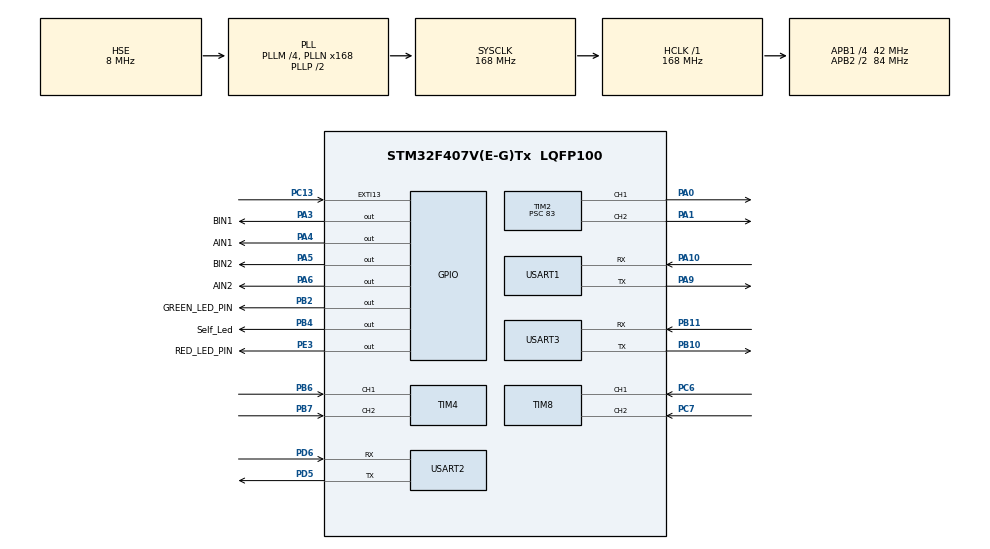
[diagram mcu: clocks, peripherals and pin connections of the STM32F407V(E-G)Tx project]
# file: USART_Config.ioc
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Mcu.Family=STM32F4
Mcu.Name=STM32F407V(E-G)Tx
Mcu.Package=LQFP100
NVIC.EXTI15_10_IRQn=true\:1\:0\:true\:false\:true\:true\:true\:true
NVIC.PriorityGroup=NVIC_PRIORITYGROUP_4
NVIC.TIM2_IRQn=true\:0\:0\:false\:false\:true\:true\:true\:true
NVIC.TIM3_IRQn=true\:0\:0\:false\:false\:true\:true\:true\:true
NVIC.USART1_IRQn=true\:0\:0\:false\:false\:true\:true\:true\:true
NVIC.USART2_IRQn=true\:0\:0\:false\:false\:true\:true\:true\:true
NVIC.USART3_IRQn=true\:0\:0\:false\:false\:true\:true\:true\:true
PA0-WKUP.Signal=S_TIM2_CH1_ETR
PA1.Signal=S_TIM2_CH2
PA10.Mode=Asynchronous
PA10.Signal=USART1_RX
PA13.Mode=Serial_Wire
PA13.Signal=SYS_JTMS-SWDIO
PA14.Mode=Serial_Wire
PA14.Signal=SYS_JTCK-SWCLK
PA3.GPIO_Label=BIN1
PA3.Signal=GPIO_Output
PA4.GPIO_Label=AIN1
PA4.Signal=GPIO_Output
PA5.GPIO_Label=BIN2
PA5.Signal=GPIO_Output
PA6.GPIO_Label=AIN2
PA6.Signal=GPIO_Output
PA9.Mode=Asynchronous
PA9.Signal=USART1_TX
PB10.Mode=Asynchronous
PB10.Signal=USART3_TX
PB11.Mode=Asynchronous
PB11.Signal=USART3_RX
PB2.GPIO_Label=GREEN_LED_PIN
PB2.Signal=GPIO_Output
PB4.GPIO_Label=Self_Led
PB4.GPIO_PuPd=GPIO_NOPULL
PB4.Signal=GPIO_Output
PB6.Signal=S_TIM4_CH1
PB7.Signal=S_TIM4_CH2
PC13-ANTI_TAMP.GPIO_ModeDefaultEXTI=GPIO_MODE_IT_RISING
PC13-ANTI_TAMP.GPIO_PuPd=GPIO_PULLDOWN
PC13-ANTI_TAMP.Signal=GPXTI13
PC14-OSC32_IN.Mode=LSE-External-Oscillator
PC14-OSC32_IN.Signal=RCC_OSC32_IN
PC15-OSC32_OUT.Mode=LSE-External-Oscillator
PC15-OSC32_OUT.Signal=RCC_OSC32_OUT
PC6.Signal=S_TIM8_CH1
PC7.Signal=S_TIM8_CH2
PD5.Mode=Asynchronous
PD5.Signal=USART2_TX
PD6.Mode=Asynchronous
PD6.Signal=USART2_RX
PE3.GPIO_Label=RED_LED_PIN
PE3.GPIO_PuPd=GPIO_PULLDOWN
PE3.PinState=GPIO_PIN_RESET
PE3.Signal=GPIO_Output
PH0-OSC_IN.Mode=HSE-External-Oscillator
PH0-OSC_IN.Signal=RCC_OSC_IN
PH1-OSC_OUT.Mode=HSE-External-Oscillator
PH1-OSC_OUT.Signal=RCC_OSC_OUT
ProjectManager.HeapSize=0x200
ProjectManager.StackSize=0x400
ProjectManager.TargetToolchain=MDK-ARM V5
RCC.48MHZClocksFreq_Value=84000000
RCC.AHBFreq_Value=168000000
RCC.APB1CLKDivider=RCC_HCLK_DIV4
RCC.APB1Freq_Value=42000000
RCC.APB1TimFreq_Value=84000000
RCC.APB2CLKDivider=RCC_HCLK_DIV2
RCC.APB2Freq_Value=84000000
RCC.APB2TimFreq_Value=168000000
RCC.CortexFreq_Value=168000000
RCC.HCLKFreq_Value=168000000
RCC.HSE_VALUE=8000000
RCC.HSI_VALUE=16000000
RCC.PLLM=4
RCC.PLLN=168
RCC.PLLSourceVirtual=RCC_PLLSOURCE_HSE
RCC.SYSCLKFreq_VALUE=168000000
RCC.SYSCLKSource=RCC_SYSCLKSOURCE_PLLCLK
RCC.VCOOutputFreq_Value=336000000
SH.S_TIM2_CH1_ETR.0=TIM2_CH1,PWM Generation1 CH1
SH.S_TIM2_CH2.0=TIM2_CH2,PWM Generation2 CH2
SH.S_TIM4_CH1.0=TIM4_CH1,Encoder_Interface
SH.S_TIM4_CH2.0=TIM4_CH2,Encoder_Interface
SH.S_TIM8_CH1.0=TIM8_CH1,Encoder_Interface
SH.S_TIM8_CH2.0=TIM8_CH2,Encoder_Interface
TIM2.AutoReloadPreload=TIM_AUTORELOAD_PRELOAD_ENABLE
TIM2.Channel-PWM\ Generation1\ CH1=TIM_CHANNEL_1
TIM2.Channel-PWM\ Generation2\ CH2=TIM_CHANNEL_2
TIM2.OCPolarity_1=TIM_OCPOLARITY_LOW
TIM2.Period=99
TIM2.Prescaler=83
TIM3.AutoReloadPreload=TIM_AUTORELOAD_PRELOAD_ENABLE
TIM3.Period=999
TIM3.Prescaler=83
USART1.VirtualMode=VM_ASYNC
USART2.VirtualMode=VM_ASYNC
USART3.VirtualMode=VM_ASYNC
VP_TIM2_VS_ClockSourceINT.Mode=Internal
VP_TIM3_VS_ClockSourceINT.Mode=Internal
board=custom

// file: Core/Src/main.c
/* USER CODE BEGIN Header */
/**
  ******************************************************************************
  * @文件           : main.c
  * @�??�?          : 智能送药小车主程�?
  ******************************************************************************
  * @注意
  *
  * Copyright (c) 2025 STMicroelectronics.
  * 保留�?有权�?
  *
  * 本软件的许可条款可在该软件组件根目录下的LICENSE文件中找到�??
  * 如果本软件未附带LICENSE文件，则按AS-IS方式提供�?
  *
  ******************************************************************************
  */
/* USER CODE END Header */
#include "main.h"
#include "tim.h"
#include "usart.h"
#include "gpio.h"

/* USER CODE BEGIN Includes */
#include <string.h>
#include <stdio.h>
#include "ring_buffer.h"
#include "usart_handler.h"
#include "Control.h"
/* USER CODE END Includes */

/* USER CODE BEGIN PTD */
// 系统状�?�枚�?
typedef enum {
    SYS_INIT = 0,                  // 系统初始�?
    SYS_WAITING_MEDICINE,          // 等待装药
    SYS_LINE_TRACKING,             // 循线行驶
    SYS_CROSS_PROCESSING,          // 路口处理
    SYS_ARRIVED,                   // 到达目的�?
    SYS_MISSION_COMPLETE,          // 任务完成
    SYS_ERROR                      // 错误状�??
} SystemState_t;

// 电机动作枚举
typedef enum {
    MOTOR_ACT_STOP,                // 停止
    MOTOR_ACT_FORWARD,             // 前进
    MOTOR_TURN_LEFT,               // 原地左转
    MOTOR_TURN_RIGHT,              // 原地右转
    MOTOR_TURN_AROUND,             // 掉头(180�?)
    MOTOR_ADJUST_LEFT,             // 轻微左调
    MOTOR_ADJUST_RIGHT,            // 轻微右调
    MOTOR_CURVE_LEFT,              // 大曲线左�?
    MOTOR_CURVE_RIGHT              // 大曲线右�?
} MotorAction_t;
/* USER CODE END PTD */

/* USER CODE BEGIN PD */
#define MAX_CROSS_RECORDS     20    // �?大路口记录数
#define TURN_DELAY_MS         2000  // 90度原地转向的延迟时间(毫秒)
#define AROUND_DELAY_MS       4000  // 180度掉头的延迟时间(毫秒)
#define SPEED_FORWARD         150.0f // 前进速度
#define SPEED_ADJUST_FACTOR   1.2f  // 轻微调整的�?�度系数
#define SPEED_CURVE_FACTOR    0.3f  // 大曲线转向�?�度系数(例如：内侧车30%速度)
#define PI_UART               &huart2 // 与树莓派通信的UART
/* USER CODE END PD */

/* USER CODE BEGIN PV */
// UART环形缓冲�?
RingBuffer usart1_rx_buffer = {0};
RingBuffer usart2_rx_buffer = {0};
RingBuffer usart3_rx_buffer = {0};

// 系统状�??
volatile SystemState_t system_state = SYS_INIT;
volatile uint8_t medicine_taken = 0;          // 药品已放置标�?
volatile uint8_t sensor_state_8 = 0;          // 8位传感器状�??
volatile uint8_t In_Turn = 0;                 // 正在转向标志

// 返程路径记录
uint8_t cross_go[MAX_CROSS_RECORDS];          // 去程路口记录
uint8_t cross_cnt_go = 0;                     // 去程路口计数
uint8_t GO_or_BACK = 0;                       // 0-去程, 1-返程

// 通信缓冲�?
uint16_t track_pkt_len = 0;                   // 新传感器数据标志
extern uint8_t frame_buffer[];                // usart_handler.c中定�?

bool action_initialized = 0;
/* USER CODE END PV */

void SystemClock_Config(void);
/* USER CODE BEGIN PFP */
void SystemClock_Config(void);
void System_Init(void);
void Process_Communication(void);
void Line_Tracking_Task(void);
void Execute_Line_Tracking(uint8_t sensor_state_8);
void Handle_Cross_Road(void);
void  Motor_Action(MotorAction_t action);
void Handle_Arrival(void);
void Execute_Cross_Action(uint8_t action);
void Controlled_Delay(uint32_t delay_ms);
void Send_Status_Message(const char* message);
void System_Status_Monitor(void);
/* USER CODE END PFP */

int main(void)
{

  /* MCU Configuration--------------------------------------------------------*/

  /* Reset of all peripherals, Initializes the Flash interface and the Systick. */
  HAL_Init();

  /* Configure the system clock */
  SystemClock_Config();

  /* Initialize all configured peripherals */
  MX_GPIO_Init();
  MX_USART1_UART_Init();
  MX_USART2_UART_Init();
  MX_USART3_UART_Init();
  MX_TIM2_Init();
  MX_TIM3_Init();
  MX_TIM4_Init();
  MX_TIM8_Init();
  /* USER CODE BEGIN 2 */
System_Init();
Pi_Start();
  /* USER CODE END 2 */

  /* Infinite loop */
  /* USER CODE BEGIN WHILE */
printf("\xBB智能送药小车启动...\r\n\x55\x44\x33");

    // 1. 等待药品装载
system_state = SYS_WAITING_MEDICINE;
printf("\xBB等待药品装载...\r\n\x55\x44\x33");
    while(medicine_taken == 0) {
        // 该标志可通过按键中断或命令设�?
        HAL_Delay(10);
        }
medicine_taken = 0;

printf("\xBB开始巡线\r\n\x55\x44\x33");

system_state = SYS_LINE_TRACKING;
    while (1)
    {
    /* USER CODE END WHILE */
  //#ifdef DEBUG_MODE
    //System_Status_Monitor();
    //#endif
    /* USER CODE BEGIN 3 */

    // 1. 统一调用电机控制任务

    Motor_Control_Task(); // 保持电机控制
    // 2. 处理传入的传感器数据和其他通信数据
    Process_Communication();

    // 3. 主状态机
    switch(system_state) {
        case SYS_LINE_TRACKING:
            Line_Tracking_Task();
            break;

        case SYS_CROSS_PROCESSING:
            Handle_Cross_Road();
            break;

        case SYS_ARRIVED:
            Handle_Arrival();
            break;

        case SYS_MISSION_COMPLETE:
            // 任务完成状态，保持停止
            printf("\xBB任务完成，等待新命令...\r\n\x55\x44\x33");
            Car_Stop_Precise();
            break;

        case SYS_ERROR:
            printf("\xBB系统错误! 停止运行。\r\n\x55\x44\x33");
            Car_Stop_Precise();
            while(1); // 停机
            break;

        default:
            break;
    }

        HAL_Delay(10); // 主循环延时
    }

  /* USER CODE END 3 */
}

void SystemClock_Config(void)
{
  RCC_OscInitTypeDef RCC_OscInitStruct = {0};
  RCC_ClkInitTypeDef RCC_ClkInitStruct = {0};

  /** Configure the main internal regulator output voltage
  */
  __HAL_RCC_PWR_CLK_ENABLE();
  __HAL_PWR_VOLTAGESCALING_CONFIG(PWR_REGULATOR_VOLTAGE_SCALE1);

  /** Initializes the RCC Oscillators according to the specified parameters
  * in the RCC_OscInitTypeDef structure.
  */
  RCC_OscInitStruct.OscillatorType = RCC_OSCILLATORTYPE_HSE;
  RCC_OscInitStruct.HSEState = RCC_HSE_ON;
  RCC_OscInitStruct.PLL.PLLState = RCC_PLL_ON;
  RCC_OscInitStruct.PLL.PLLSource = RCC_PLLSOURCE_HSE;
  RCC_OscInitStruct.PLL.PLLM = 4;
  RCC_OscInitStruct.PLL.PLLN = 168;
  RCC_OscInitStruct.PLL.PLLP = RCC_PLLP_DIV2;
  RCC_OscInitStruct.PLL.PLLQ = 4;
  if (HAL_RCC_OscConfig(&RCC_OscInitStruct) != HAL_OK)
  {
    Error_Handler();
  }

  /** Initializes the CPU, AHB and APB buses clocks
  */
  RCC_ClkInitStruct.ClockType = RCC_CLOCKTYPE_HCLK|RCC_CLOCKTYPE_SYSCLK
                              |RCC_CLOCKTYPE_PCLK1|RCC_CLOCKTYPE_PCLK2;
  RCC_ClkInitStruct.SYSCLKSource = RCC_SYSCLKSOURCE_PLLCLK;
  RCC_ClkInitStruct.AHBCLKDivider = RCC_SYSCLK_DIV1;
  RCC_ClkInitStruct.APB1CLKDivider = RCC_HCLK_DIV4;
  RCC_ClkInitStruct.APB2CLKDivider = RCC_HCLK_DIV2;

  if (HAL_RCC_ClockConfig(&RCC_ClkInitStruct, FLASH_LATENCY_5) != HAL_OK)
  {
    Error_Handler();
  }
}

/* USER CODE BEGIN 4 */
/**
  * @brief  系统初始�?
  */
void System_Init(void)
{
    RingBuffer_Init(&usart1_rx_buffer);
    RingBuffer_Init(&usart2_rx_buffer);
    RingBuffer_Init(&usart3_rx_buffer);

    HAL_UART_Receive_IT(&huart1, &usart1_rx_buffer.buffer[usart1_rx_buffer.head], 1);
    HAL_UART_Receive_IT(&huart2, &usart2_rx_buffer.buffer[usart2_rx_buffer.head], 1);
    HAL_UART_Receive_IT(&huart3, &usart3_rx_buffer.buffer[usart3_rx_buffer.head], 1);

    Motor_Init();
    Motor_PID_Init();
    printf("\xBB[电机] 初始化完成\r\n\x55\x44\x33");
    Car_Stop();

    system_state = SYS_INIT;
    GO_or_BACK = 0;
    cross_cnt_go = 0;
    In_Turn = 0;
}

/**
  * @brief  处理来自传感器和树莓派的通信数据
  */
void Process_Communication(void)
{
    // �?查UART2的新数据(传感器数据或树莓派命�?)
    static char rx_track_buf[MAX_FRAME_SIZE];
    uint16_t len = GetPacket(PI_UART, &usart2_rx_buffer, rx_track_buf);

    if(len > 0) {
        // �?查是否是特殊命令
        char command = rx_track_buf[1];

        // �?查目的地到达信号
        if (command == 'f' || command == 'e') {
            printf("\xBB接收到目的地信号: '%c'\r\n\x55\x44\x33", command);
            system_state = SYS_ARRIVED;
            return;
        }

        // �?查路口信�?
        if (command == 'c') { // 假设'c'表示�?测到路口
            printf("\xBB接收到路口信号\r\n\x55\x44\x33");
            system_state = SYS_CROSS_PROCESSING;
            return;
        }

        // 如果处于循线模式，这是传感器数据
        if (system_state == SYS_LINE_TRACKING) {
            sensor_state_8 = rx_track_buf[1]; // 假设数据在第二个字节
            track_pkt_len = len; // 为Line_Tracking_Task设置标志
        }
    }

    // 其他通信处理可以放在这里(例如：蓝牙调试UART)
    USART1_ProcessReceivedData();
}

/**
  * @brief 主循线任务，从主循环调用
  */
void Line_Tracking_Task(void)
{
    // 仅当有新数据且不在转向时处理新传感器数据
    if(track_pkt_len && !In_Turn) {
        track_pkt_len = 0; // 消费数据�?
        Execute_Line_Tracking(sensor_state_8);
    }
}

/**
  * @brief 基于8传感器状态执行循线�?�辑
  * 这是运动的核心决策函�?
  * @param sensor_state_8: 来自传感器阵列的8位状�?
  */
void Execute_Line_Tracking(uint8_t sensor_state_8)
{
    // 标准循线逻辑
    switch(sensor_state_8) {
        case STATE_STRAIGHT:
             Motor_Action(MOTOR_ACT_FORWARD);
            break;

        case STATE_ADJUST_LEFT_1:
        case STATE_ADJUST_LEFT_2:
             Motor_Action(MOTOR_ADJUST_LEFT);
            break;

        case STATE_ADJUST_RIGHT_1:
        case STATE_ADJUST_RIGHT_2:
             Motor_Action(MOTOR_ADJUST_RIGHT);
            break;

        case STATE_CURVE_LEFT:
             Motor_Action(MOTOR_CURVE_LEFT);
            break;

        case STATE_CURVE_RIGHT:
             Motor_Action(MOTOR_CURVE_RIGHT);
            break;

        default:
            // 如果处于未知状�?�，作为 fallback 继续直行
             Motor_Action(MOTOR_ACT_FORWARD);
            break;
    }
}

/**
  * @brief 处理路口逻辑
  */
void Handle_Cross_Road(void)
{
    Motor_Action(MOTOR_ACT_STOP);
    printf("\xBB检测到路口。\r\n\x55\x44\x33");
    printf("\xBB等待来自树莓派的转向命令(w/a/d)...\r\n\x55\x44\x33");

    char action = 0;
    static char rx_buf[5] = {0};
    uint16_t len = 0;

    // 等待来自树莓派的命令
    while(len == 0) {
        len = GetPacket(PI_UART, &usart2_rx_buffer, rx_buf);
        HAL_Delay(10);
    }
    action = rx_buf[1]; // 命令在第二个字节

    printf("\xBB收到命令: '%c'\r\n\x55\x44\x33", action);

    // 如果是去程，记录转向以便返程
    if(GO_or_BACK == 0 && cross_cnt_go < MAX_CROSS_RECORDS) {
        cross_go[cross_cnt_go] = action;
        cross_cnt_go++;
    }

    In_Turn = 1; // 设置转向标志

    // 重置动作初始化标志
    action_initialized = 0;

    // 执行转向动作，直到完成
    while (In_Turn) {
        // 如果动作尚未初始化，进行初始化
        if (!action_initialized) {
            Execute_Cross_Action(action);
            action_initialized = 1;
        }

        // 持续执行控制任务
        Motor_Control_Task();
        HAL_Delay(10);
    }
    // 恢复循线
        system_state = SYS_LINE_TRACKING;
}

/**
  * @brief 处理到达病房或药房的逻辑
  */
void Handle_Arrival(void)
{
    Motor_Action(MOTOR_ACT_STOP);
    printf("\xBB到达目的地，等待药品操作...\r\n\x55\x44\x33");

    char command = 0;
    static char rx_buf[5] = {0};
    uint16_t len = 0;

    // 等待来自树莓派的命令('f'�?'e')
    while(command != 'f' && command != 'e') {
        len = GetPacket(PI_UART, &usart2_rx_buffer, rx_buf);
        if (len > 0) {
            command = rx_buf[1];
        }
        HAL_Delay(10);
    }

    printf("\xBB收到命令: '%c'\r\n\x55\x44\x33", command);

    if (command == 'f' && GO_or_BACK == 0) { // 到达病房
        printf("\xBB到达病房，等待取药\r\n\x55\x44\x33");
        HAL_GPIO_WritePin(RED_LED_PIN_GPIO_Port, RED_LED_PIN_Pin, GPIO_PIN_SET);

        Motor_Action(MOTOR_ACT_STOP);

        while(medicine_taken == 0) {
            HAL_Delay(1000); // 等待按键按下
        }
        medicine_taken = 0;
        HAL_GPIO_WritePin(RED_LED_PIN_GPIO_Port, RED_LED_PIN_Pin, GPIO_PIN_RESET);

        printf("\xBBstart go back\r\n\x55\x44\x33");

        // 使用修复后的掉头函数
        In_Turn = 1;
        if(In_Turn) {
            Motor_Action(MOTOR_TURN_AROUND);
        }

        printf("\xBBgo back\r\n\x55\x44\x33");
        Send_Packet(PI_UART, "b", 1);

        GO_or_BACK = 1; // 设置为返程模式
        system_state = SYS_LINE_TRACKING; // 恢复循线

    }
    else if (command == 'e' && GO_or_BACK == 1) { // 返回药房
        printf("\xBB返回药房。任务完成�?�\r\n\x55\x44\x33");
        HAL_GPIO_WritePin(GREEN_LED_PIN_GPIO_Port, GREEN_LED_PIN_Pin, GPIO_PIN_SET);
        system_state = SYS_MISSION_COMPLETE;
    }
    else {
        printf("\xBB错误命令或状态不匹配\r\n\x55\x44\x33");
        system_state = SYS_ERROR;
    }
}

/**
  * @brief  执行特定的电机动�?
  * @param action: 要执行的电机动作
  */
void Motor_Action(MotorAction_t action)
{
    switch(action) {
        case MOTOR_ACT_STOP:
            printf("\xBB[电机] 停止\r\n\x55\x44\x33");
            Car_Stop_Precise();
            In_Turn = 0; // 停止时清除转向标志
            break;

        case MOTOR_ACT_FORWARD:
        printf("\xBB[电机] 前进\r\n\x55\x44\x33");
            Car_Go(SPEED_FORWARD, -SPEED_FORWARD);
            In_Turn = 0;
            break;

        case MOTOR_ADJUST_LEFT:
        printf("\xBB[电机] 轻微左调\r\n\x55\x44\x33");
            Car_Go(SPEED_FORWARD - 5, -(SPEED_FORWARD - 5));
            In_Turn = 0;
            break;

        case MOTOR_ADJUST_RIGHT:
        printf("\xBB[电机] 轻微右调\r\n\x55\x44\x33");
            Car_Go(SPEED_FORWARD + 5, -(SPEED_FORWARD + 5));
            In_Turn = 0;
            break;

        case MOTOR_CURVE_LEFT:
        printf("\xBB[电机] 大曲线左转\r\n\x55\x44\x33");
            Car_Go(SPEED_FORWARD - 10, -(SPEED_FORWARD - 10));
            In_Turn = 0;
            break;

        case MOTOR_CURVE_RIGHT:
        printf("\xBB[电机] 大曲线右转\r\n\x55\x44\x33");
            Car_Go(SPEED_FORWARD + 10, -(SPEED_FORWARD + 10));
            In_Turn = 0;
            break;

        case MOTOR_TURN_LEFT:
        printf("\xBB[电机] 原地左转\r\n\x55\x44\x33");
            // 直接调用转向函数
            Car_Straight_Then_Turn_Left_90_And_Stop();
            // 检查转向是否完成
            if (Is_Motion_Complete()) {
                In_Turn = 0; // 清除转向标志
            }
            break;

        // case MOTOR_TURN_RIGHT:
        //     // 直接调用转向函数
        //     printf("\xBB[电机] 原地右转\r\n\x55\x44\x33");
        //     Car_Straight_Then_Turn_Right_90_And_Stop();
        //     // 检查转向是否完成
        //     if (Is_Motion_Complete()) {
        //         In_Turn = 0; // 清除转向标志
        //     }
        //     break;

        case MOTOR_TURN_RIGHT:
            printf("\xBB[电机] 原地右转\r\n\x55\x44\x33");
            Car_Straight_Then_Turn_Right_90_And_Stop();
            if (Is_Motion_Complete()) {
                In_Turn = 0; // 清除转向标志
                Car_Stop_Precise(); // 确保停止
                printf("\xBB[电机] 右转完成\r\n\x55\x44\x33");
            }
            break;

        // case MOTOR_TURN_RIGHT:
        // printf("\xBB[电机] 原地右转\r\n\x55\x44\x33");
        // while (!Is_Motion_Complete()) {
        //     Car_Straight_Then_Turn_Right_90_And_Stop();
        //     Motor_Control_Task(); // 保持电机控制
        //     HAL_Delay(10);
        // }
            In_Turn = 0;
            break;
        case MOTOR_TURN_AROUND:
            // 直接调用转向函数
            printf("\xBB[电机] 掉头\r\n\x55\x44\x33");
            Car_Turn_Around_And_Stop();
            // 检查转向是否完成
            if (Is_Motion_Complete()) {
                In_Turn = 0; // 清除转向标志
            }
            break;

        default:
            printf("\xBB[电机] 未知动作，停止\r\n\x55\x44\x33");
            Car_Stop();
            In_Turn = 0;
            break;
    }
}

/**
  * @brief  在路口执行定时原地转�?
  * @param action: 转向方向字符('w', 'a', 'd')
  */
void Execute_Cross_Action(uint8_t action)
{
     switch(action) {
        case 'a': // 左转
            printf("\xBB[电机] 左转90度\r\n\x55\x44\x33");
            Motor_Action(MOTOR_TURN_LEFT);
            break;

        case 'd': // 右转
            printf("\xBB[电机] 右转90度\r\n\x55\x44\x33");
            Motor_Action(MOTOR_TURN_RIGHT);
            break;

        default:
        case 'w': // 直行
            printf("\xBB[电机] 直行通过路口\r\n\x55\x44\x33");
            Motor_Action(MOTOR_ACT_FORWARD); // 直行通过
            HAL_Delay(500); // 直行一小段时间
            In_Turn = 0; // 结束转向
            break;
    }
}

/**
  * @brief  通过调试UART发送状态消息
  * @param message: 要发送的字符串消息
  */
void Send_Status_Message(const char* message)
{
    HAL_UART_Transmit(&huart2, (uint8_t*)message, strlen(message), 100);
}

/**
  * @brief  系统状�?�监控和诊断
  */
void System_Status_Monitor(void)
{
    static uint32_t last_status_time = 0;
    uint32_t current_time = HAL_GetTick();

    // �?5秒输出一次状态信�?
    if (current_time - last_status_time > 5000) {
        printf("\xBB===================\r\n\x55\x44\x33");
        printf("\xBB System_state %d\r\n\x55\x44\x33", system_state);
        printf("\xBB Sensor_state %02X\r\n\x55\x44\x33", sensor_state_8);
        printf("\xBB In_Turn: %d\r\n\x55\x44\x33", In_Turn);
        printf("\xBB Medicine_taken: %d\r\n\x55\x44\x33", medicine_taken);
        printf("\xBB Cross_Num: %d\r\n\x55\x44\x33", cross_cnt_go);
        printf("\xBB Left_motor.current_speed: %.2f RPM\r\n\x55\x44\x33", left_motor.current_speed);
        printf("\xBB Right_motor.current_speed: %.2f RPM\r\n\x55\x44\x33", right_motor.current_speed);
        printf("\xBB===================\r\n\x55\x44\x33");

        last_status_time = current_time;
    }
}

/* USER CODE END 4 */

void Error_Handler(void)
{
    __disable_irq();
    while (1) {
    }
}

#ifdef  USE_FULL_ASSERT
/**
  * @brief  Reports the name of the source file and the source line number
  *         where the assert_param error has occurred.
  * @param  file: pointer to the source file name
  * @param  line: assert_param error line source number
  * @retval None
  */
void assert_failed(uint8_t *file, uint32_t line)
{
  /* USER CODE BEGIN 6 */
    /* 用户可以添加自己的文件和行号处理逻辑 */
  /* USER CODE END 6 */
}
#endif /* USE_FULL_ASSERT */
